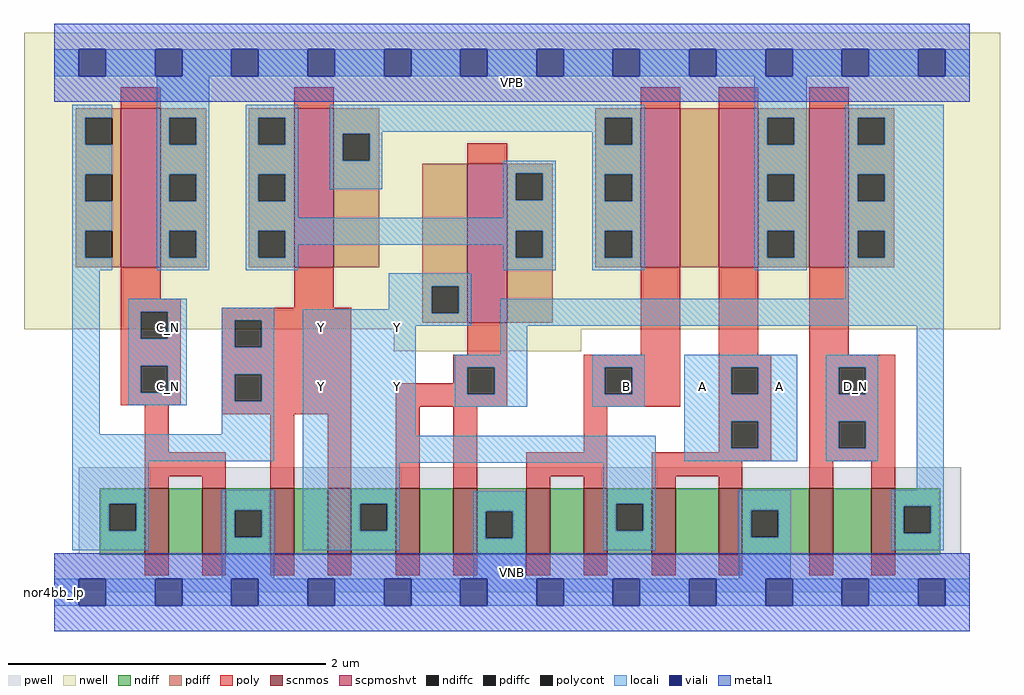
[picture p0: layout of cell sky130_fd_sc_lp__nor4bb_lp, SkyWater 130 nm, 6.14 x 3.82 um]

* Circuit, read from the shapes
.subckt sky130_fd_sc_lp__nor4bb_lp A B C_N D_N VGND VNB VPB VPWR Y
XM1 n1 C_N n2 VNB sky130_fd_pr__nfet_01v8 w=0.42 l=0.15
XM2 VGND C_N n1 VNB sky130_fd_pr__nfet_01v8 w=0.42 l=0.15
XM3 n3 n2 VGND VNB sky130_fd_pr__nfet_01v8 w=0.42 l=0.15
XM4 Y n2 n3 VNB sky130_fd_pr__nfet_01v8 w=0.42 l=0.15
XM5 n4 n5 Y VNB sky130_fd_pr__nfet_01v8 w=0.42 l=0.15
XM6 VGND n5 n4 VNB sky130_fd_pr__nfet_01v8 w=0.42 l=0.15
XM7 n6 B VGND VNB sky130_fd_pr__nfet_01v8 w=0.42 l=0.15
XM8 Y B n6 VNB sky130_fd_pr__nfet_01v8 w=0.42 l=0.15
XM9 n7 A Y VNB sky130_fd_pr__nfet_01v8 w=0.42 l=0.15
XM10 VGND A n7 VNB sky130_fd_pr__nfet_01v8 w=0.42 l=0.15
XM11 n8 D_N VGND VNB sky130_fd_pr__nfet_01v8 w=0.42 l=0.15
XM12 n5 D_N n8 VNB sky130_fd_pr__nfet_01v8 w=0.42 l=0.15
XM13 VPWR C_N n2 VPB sky130_fd_pr__pfet_01v8_hvt w=1 l=0.25
XM14 n9 n2 n10 VPB sky130_fd_pr__pfet_01v8_hvt w=1 l=0.25
XM15 n10 n5 Y VPB sky130_fd_pr__pfet_01v8_hvt w=1 l=0.25
XM16 n11 B n9 VPB sky130_fd_pr__pfet_01v8_hvt w=1 l=0.25
XM17 VPWR A n11 VPB sky130_fd_pr__pfet_01v8_hvt w=1 l=0.25
XM18 n5 D_N VPWR VPB sky130_fd_pr__pfet_01v8_hvt w=1 l=0.25
.ends

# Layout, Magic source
magic
tech sky130A
magscale 1 2
<< nwell >>
rect -38 331 1190 704
rect 427 303 663 331
<< pwell >>
rect 31 49 1141 157
rect 0 0 1152 49
<< scnmos >>
rect 114 47 144 131
rect 186 47 216 131
rect 272 47 302 131
rect 344 47 374 131
rect 430 47 460 131
rect 502 47 532 131
rect 594 47 624 131
rect 666 47 696 131
rect 752 47 782 131
rect 836 47 866 131
rect 950 47 980 131
rect 1028 47 1058 131
<< scpmoshvt >>
rect 84 409 134 609
rect 302 409 352 609
rect 520 339 570 539
rect 738 409 788 609
rect 836 409 886 609
rect 950 409 1000 609
<< ndiff >>
rect 57 111 114 131
rect 57 77 69 111
rect 103 77 114 111
rect 57 47 114 77
rect 144 47 186 131
rect 216 103 272 131
rect 216 69 227 103
rect 261 69 272 103
rect 216 47 272 69
rect 302 47 344 131
rect 374 111 430 131
rect 374 77 385 111
rect 419 77 430 111
rect 374 47 430 77
rect 460 47 502 131
rect 532 102 594 131
rect 532 68 543 102
rect 577 68 594 102
rect 532 47 594 68
rect 624 47 666 131
rect 696 111 752 131
rect 696 77 707 111
rect 741 77 752 111
rect 696 47 752 77
rect 782 47 836 131
rect 866 103 950 131
rect 866 69 877 103
rect 911 69 950 103
rect 866 47 950 69
rect 980 47 1028 131
rect 1058 108 1115 131
rect 1058 74 1069 108
rect 1103 74 1115 108
rect 1058 47 1115 74
<< pdiff >>
rect 27 597 84 609
rect 27 563 39 597
rect 73 563 84 597
rect 27 526 84 563
rect 27 492 39 526
rect 73 492 84 526
rect 27 455 84 492
rect 27 421 39 455
rect 73 421 84 455
rect 27 409 84 421
rect 134 597 191 609
rect 134 563 145 597
rect 179 563 191 597
rect 134 526 191 563
rect 134 492 145 526
rect 179 492 191 526
rect 134 455 191 492
rect 134 421 145 455
rect 179 421 191 455
rect 134 409 191 421
rect 245 597 302 609
rect 245 563 257 597
rect 291 563 302 597
rect 245 526 302 563
rect 245 492 257 526
rect 291 492 302 526
rect 245 455 302 492
rect 245 421 257 455
rect 291 421 302 455
rect 245 409 302 421
rect 352 577 409 609
rect 352 543 363 577
rect 397 543 409 577
rect 681 597 738 609
rect 352 409 409 543
rect 681 563 693 597
rect 727 563 738 597
rect 463 385 520 539
rect 463 351 475 385
rect 509 351 520 385
rect 463 339 520 351
rect 570 527 627 539
rect 570 493 581 527
rect 615 493 627 527
rect 570 455 627 493
rect 570 421 581 455
rect 615 421 627 455
rect 570 339 627 421
rect 681 526 738 563
rect 681 492 693 526
rect 727 492 738 526
rect 681 455 738 492
rect 681 421 693 455
rect 727 421 738 455
rect 681 409 738 421
rect 788 409 836 609
rect 886 597 950 609
rect 886 563 897 597
rect 931 563 950 597
rect 886 526 950 563
rect 886 492 897 526
rect 931 492 950 526
rect 886 455 950 492
rect 886 421 897 455
rect 931 421 950 455
rect 886 409 950 421
rect 1000 597 1057 609
rect 1000 563 1011 597
rect 1045 563 1057 597
rect 1000 526 1057 563
rect 1000 492 1011 526
rect 1045 492 1057 526
rect 1000 455 1057 492
rect 1000 421 1011 455
rect 1045 421 1057 455
rect 1000 409 1057 421
<< ndiffc >>
rect 69 77 103 111
rect 227 69 261 103
rect 385 77 419 111
rect 543 68 577 102
rect 707 77 741 111
rect 877 69 911 103
rect 1069 74 1103 108
<< pdiffc >>
rect 39 563 73 597
rect 39 492 73 526
rect 39 421 73 455
rect 145 563 179 597
rect 145 492 179 526
rect 145 421 179 455
rect 257 563 291 597
rect 257 492 291 526
rect 257 421 291 455
rect 363 543 397 577
rect 693 563 727 597
rect 475 351 509 385
rect 581 493 615 527
rect 581 421 615 455
rect 693 492 727 526
rect 693 421 727 455
rect 897 563 931 597
rect 897 492 931 526
rect 897 421 931 455
rect 1011 563 1045 597
rect 1011 492 1045 526
rect 1011 421 1045 455
<< poly >>
rect 84 609 134 635
rect 302 609 352 635
rect 738 609 788 635
rect 836 609 886 635
rect 950 609 1000 635
rect 520 539 570 565
rect 84 369 134 409
rect 84 353 159 369
rect 302 358 352 409
rect 84 319 109 353
rect 143 319 159 353
rect 84 285 159 319
rect 84 251 109 285
rect 143 251 159 285
rect 84 235 159 251
rect 211 342 374 358
rect 211 308 227 342
rect 261 308 374 342
rect 211 274 374 308
rect 520 299 570 339
rect 738 299 788 409
rect 211 240 227 274
rect 261 240 374 274
rect 502 283 570 299
rect 502 263 520 283
rect 114 176 144 235
rect 211 224 374 240
rect 114 146 216 176
rect 114 131 144 146
rect 186 131 216 146
rect 272 131 302 224
rect 344 131 374 224
rect 430 249 520 263
rect 554 249 570 283
rect 430 233 570 249
rect 666 283 788 299
rect 666 249 693 283
rect 727 249 788 283
rect 666 233 788 249
rect 836 299 886 409
rect 950 299 1000 409
rect 836 283 902 299
rect 836 249 852 283
rect 886 249 902 283
rect 430 131 460 233
rect 502 131 532 233
rect 666 176 696 233
rect 836 215 902 249
rect 836 181 852 215
rect 886 181 902 215
rect 836 176 902 181
rect 594 146 696 176
rect 594 131 624 146
rect 666 131 696 146
rect 752 165 902 176
rect 950 283 1058 299
rect 950 249 987 283
rect 1021 249 1058 283
rect 950 215 1058 249
rect 950 181 987 215
rect 1021 181 1058 215
rect 950 165 1058 181
rect 752 146 866 165
rect 752 131 782 146
rect 836 131 866 146
rect 950 131 980 165
rect 1028 131 1058 165
rect 114 21 144 47
rect 186 21 216 47
rect 272 21 302 47
rect 344 21 374 47
rect 430 21 460 47
rect 502 21 532 47
rect 594 21 624 47
rect 666 21 696 47
rect 752 21 782 47
rect 836 21 866 47
rect 950 21 980 47
rect 1028 21 1058 47
<< polycont >>
rect 109 319 143 353
rect 109 251 143 285
rect 227 308 261 342
rect 227 240 261 274
rect 520 249 554 283
rect 693 249 727 283
rect 852 249 886 283
rect 852 181 886 215
rect 987 249 1021 283
rect 987 181 1021 215
<< locali >>
rect 0 649 31 683
rect 65 649 127 683
rect 161 649 223 683
rect 257 649 319 683
rect 353 649 415 683
rect 449 649 511 683
rect 545 649 607 683
rect 641 649 703 683
rect 737 649 799 683
rect 833 649 895 683
rect 929 649 991 683
rect 1025 649 1087 683
rect 1121 649 1152 683
rect 23 597 73 613
rect 23 563 39 597
rect 23 526 73 563
rect 23 492 39 526
rect 23 455 73 492
rect 23 421 39 455
rect 23 405 73 421
rect 129 597 195 649
rect 129 563 145 597
rect 179 563 195 597
rect 129 526 195 563
rect 129 492 145 526
rect 179 492 195 526
rect 129 455 195 492
rect 129 421 145 455
rect 179 421 195 455
rect 129 405 195 421
rect 241 597 307 613
rect 241 563 257 597
rect 291 563 307 597
rect 241 526 307 563
rect 241 492 257 526
rect 291 492 307 526
rect 347 597 743 613
rect 347 579 693 597
rect 347 577 413 579
rect 347 543 363 577
rect 397 543 413 577
rect 677 563 693 579
rect 727 563 743 597
rect 347 507 413 543
rect 565 527 631 543
rect 241 471 307 492
rect 565 493 581 527
rect 615 493 631 527
rect 565 471 631 493
rect 241 455 631 471
rect 241 421 257 455
rect 291 437 581 455
rect 291 421 307 437
rect 241 405 307 421
rect 565 421 581 437
rect 615 421 631 455
rect 565 405 631 421
rect 677 526 743 563
rect 677 492 693 526
rect 727 492 743 526
rect 677 455 743 492
rect 677 421 693 455
rect 727 421 743 455
rect 677 405 743 421
rect 881 597 947 649
rect 881 563 897 597
rect 931 563 947 597
rect 881 526 947 563
rect 881 492 897 526
rect 931 492 947 526
rect 881 455 947 492
rect 881 421 897 455
rect 931 421 947 455
rect 881 405 947 421
rect 995 597 1119 613
rect 995 563 1011 597
rect 1045 563 1119 597
rect 995 526 1119 563
rect 995 492 1011 526
rect 1045 492 1119 526
rect 995 455 1119 492
rect 995 421 1011 455
rect 1045 421 1119 455
rect 23 199 57 405
rect 421 385 525 401
rect 93 353 167 369
rect 93 319 109 353
rect 143 319 167 353
rect 93 285 167 319
rect 93 251 109 285
rect 143 251 167 285
rect 93 235 167 251
rect 211 342 277 358
rect 421 356 475 385
rect 211 308 227 342
rect 261 308 277 342
rect 211 274 277 308
rect 211 240 227 274
rect 261 240 277 274
rect 211 199 277 240
rect 23 165 277 199
rect 313 351 475 356
rect 509 351 525 385
rect 995 369 1119 421
rect 313 335 525 351
rect 561 335 1119 369
rect 313 197 455 335
rect 561 299 595 335
rect 504 283 595 299
rect 504 249 520 283
rect 554 249 595 283
rect 504 233 595 249
rect 677 283 743 299
rect 677 249 693 283
rect 727 249 743 283
rect 677 233 743 249
rect 793 283 935 299
rect 793 249 852 283
rect 886 249 935 283
rect 793 215 935 249
rect 23 111 119 165
rect 313 163 757 197
rect 793 181 852 215
rect 886 181 935 215
rect 793 165 935 181
rect 971 283 1037 299
rect 971 249 987 283
rect 1021 249 1037 283
rect 971 215 1037 249
rect 971 181 987 215
rect 1021 181 1037 215
rect 971 165 1037 181
rect 23 77 69 111
rect 103 77 119 111
rect 23 53 119 77
rect 211 103 277 129
rect 211 69 227 103
rect 261 69 277 103
rect 211 17 277 69
rect 313 111 435 163
rect 313 77 385 111
rect 419 77 435 111
rect 313 53 435 77
rect 527 102 593 127
rect 527 68 543 102
rect 577 68 593 102
rect 527 17 593 68
rect 691 111 757 163
rect 1085 129 1119 335
rect 691 77 707 111
rect 741 77 757 111
rect 691 53 757 77
rect 861 103 927 129
rect 861 69 877 103
rect 911 69 927 103
rect 861 17 927 69
rect 1053 108 1119 129
rect 1053 74 1069 108
rect 1103 74 1119 108
rect 1053 53 1119 74
rect 0 -17 31 17
rect 65 -17 127 17
rect 161 -17 223 17
rect 257 -17 319 17
rect 353 -17 415 17
rect 449 -17 511 17
rect 545 -17 607 17
rect 641 -17 703 17
rect 737 -17 799 17
rect 833 -17 895 17
rect 929 -17 991 17
rect 1025 -17 1087 17
rect 1121 -17 1152 17
<< viali >>
rect 31 649 65 683
rect 127 649 161 683
rect 223 649 257 683
rect 319 649 353 683
rect 415 649 449 683
rect 511 649 545 683
rect 607 649 641 683
rect 703 649 737 683
rect 799 649 833 683
rect 895 649 929 683
rect 991 649 1025 683
rect 1087 649 1121 683
rect 31 -17 65 17
rect 127 -17 161 17
rect 223 -17 257 17
rect 319 -17 353 17
rect 415 -17 449 17
rect 511 -17 545 17
rect 607 -17 641 17
rect 703 -17 737 17
rect 799 -17 833 17
rect 895 -17 929 17
rect 991 -17 1025 17
rect 1087 -17 1121 17
<< metal1 >>
rect 0 683 1152 715
rect 0 649 31 683
rect 65 649 127 683
rect 161 649 223 683
rect 257 649 319 683
rect 353 649 415 683
rect 449 649 511 683
rect 545 649 607 683
rect 641 649 703 683
rect 737 649 799 683
rect 833 649 895 683
rect 929 649 991 683
rect 1025 649 1087 683
rect 1121 649 1152 683
rect 0 617 1152 649
rect 0 17 1152 49
rect 0 -17 31 17
rect 65 -17 127 17
rect 161 -17 223 17
rect 257 -17 319 17
rect 353 -17 415 17
rect 449 -17 511 17
rect 545 -17 607 17
rect 641 -17 703 17
rect 737 -17 799 17
rect 833 -17 895 17
rect 929 -17 991 17
rect 1025 -17 1087 17
rect 1121 -17 1152 17
rect 0 -49 1152 -17
<< labels >>
flabel pwell s 0 0 1152 49 0 FreeSans 200 0 0 0 VNB
port 6 nsew ground bidirectional
flabel nwell s 0 617 1152 666 0 FreeSans 200 0 0 0 VPB
port 7 nsew power bidirectional
rlabel comment s 0 0 0 0 4 nor4bb_lp
flabel metal1 s 0 617 1152 666 0 FreeSans 340 0 0 0 VPWR
port 8 nsew power bidirectional
flabel metal1 s 0 0 1152 49 0 FreeSans 340 0 0 0 VGND
port 5 nsew ground bidirectional
flabel locali s 991 242 1025 276 0 FreeSans 340 0 0 0 D_N
port 4 nsew signal input
flabel locali s 127 242 161 276 0 FreeSans 340 0 0 0 C_N
port 3 nsew signal input
flabel locali s 127 316 161 350 0 FreeSans 340 0 0 0 C_N
port 3 nsew signal input
flabel locali s 703 242 737 276 0 FreeSans 340 0 0 0 B
port 2 nsew signal input
flabel locali s 799 242 833 276 0 FreeSans 340 0 0 0 A
port 1 nsew signal input
flabel locali s 895 242 929 276 0 FreeSans 340 0 0 0 A
port 1 nsew signal input
flabel locali s 319 242 353 276 0 FreeSans 340 0 0 0 Y
port 9 nsew signal output
flabel locali s 319 316 353 350 0 FreeSans 340 0 0 0 Y
port 9 nsew signal output
flabel locali s 415 242 449 276 0 FreeSans 340 0 0 0 Y
port 9 nsew signal output
flabel locali s 415 316 449 350 0 FreeSans 340 0 0 0 Y
port 9 nsew signal output
<< properties >>
string LEFsite unit
string LEFclass CORE
string FIXED_BBOX 0 0 1152 666
string GDS_FILE $PDKPATH/libs.ref/sky130_fd_sc_lp/gds/sky130_fd_sc_lp.gds
string LEFsymmetry X Y R90
string GDS_END 3385604
string GDS_START 3376322
<< end >>
